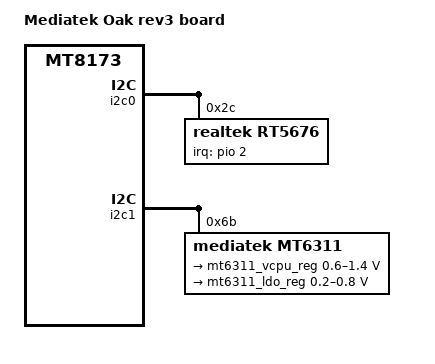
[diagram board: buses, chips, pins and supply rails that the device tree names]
/*
 * Copyright 2015 MediaTek Inc.
 * Author: Eddie Huang <eddie.huang@mediatek.com>
 *
 * This program is free software; you can redistribute it and/or modify
 * it under the terms of the GNU General Public License version 2 as
 * published by the Free Software Foundation.
 *
 * This program is distributed in the hope that it will be useful,
 * but WITHOUT ANY WARRANTY; without even the implied warranty of
 * MERCHANTABILITY or FITNESS FOR A PARTICULAR PURPOSE.  See the
 * GNU General Public License for more details.
 */

/dts-v1/;
#include "mt8173-oak.dtsi"

/ {
	model = "Mediatek Oak rev3 board";
	compatible = "google,oak-rev3", "google,oak", "mediatek,mt8173";
};

&bl_fixed_pins {
	pins1 {
		pinmux = <MT8173_PIN_29_UCTS2__FUNC_GPIO29>;
		output-low;
	};
};

&bl_fixed_reg {
	gpio = <&pio 29 GPIO_ACTIVE_HIGH>;
};

&gpio_keys {
	/delete-property/pinctrl-names;
	/delete-property/pinctrl-0;

	/delete-node/tablet_mode;
	/delete-node/volume_down;
	/delete-node/volume_up;
};

&gpu {
	mfgsys-power-supply = <&mt6397_vgpu_reg>;
};

&i2c0 {
	rt5676: audio-codec@2c {
		compatible = "realtek,rt5676";
		reg = <0x2c>;
		interrupt-parent = <&pio>;
		interrupts = <2 IRQ_TYPE_EDGE_BOTH>;
		pinctrl-names = "default";
		pinctrl-0 = <&rt5676_irq>;
	};
};

&i2c1 {
	/delete-node/da9211@68;

	mt6311: mt6311@6b {
		compatible = "mediatek,mt6311";
		reg = <0x6b>;

		regulators {
			mt6311_vcpu_reg: VDVFS {
				regulator-name = "VDVFS";
				regulator-min-microvolt = < 600000>;
				regulator-max-microvolt = <1400000>;
				regulator-ramp-delay = <10000>;
				regulator-always-on;
			};
			mt6311_ldo_reg: VBIASN {
				regulator-name = "VBIASN";
				regulator-min-microvolt = <200000>;
				regulator-max-microvolt = <800000>;
			};
		};
	};
};

&i2c3 {
	/delete-node/touchscreen@10;
};

&mmc1 {
	/delete-property/wp-gpios;
};

&mmc1_pins_default {
	/delete-node/pins_wp;
};

&mmc3_pins_default {
	pins_pdn {
		pinmux = <MT8173_PIN_100_MSDC2_DAT0__FUNC_GPIO100>;
		output-high;
	};
};

&pio {
	/delete-node/gpio_keys_node;

	rt5676_irq: rt5676_irq {
		pins1 {
			pinmux = <MT8173_PIN_2_EINT2__FUNC_GPIO2>;
			bias-pull-down;
		};
	};
};

&scpsys {
	mfg_async-supply = <&mt6397_vgpu_reg>;
};

&sdio_fixed_3v3 {
	gpio = <&pio 100 GPIO_ACTIVE_HIGH>;
	enable-active-high;
};

&sound {
	compatible = "mediatek,mt8173-rt5650-rt5676";
	mediatek,audio-codec = <&rt5650 &rt5676>;
};

&trackpad {
	interrupts = <124 IRQ_TYPE_LEVEL_LOW>;
};
